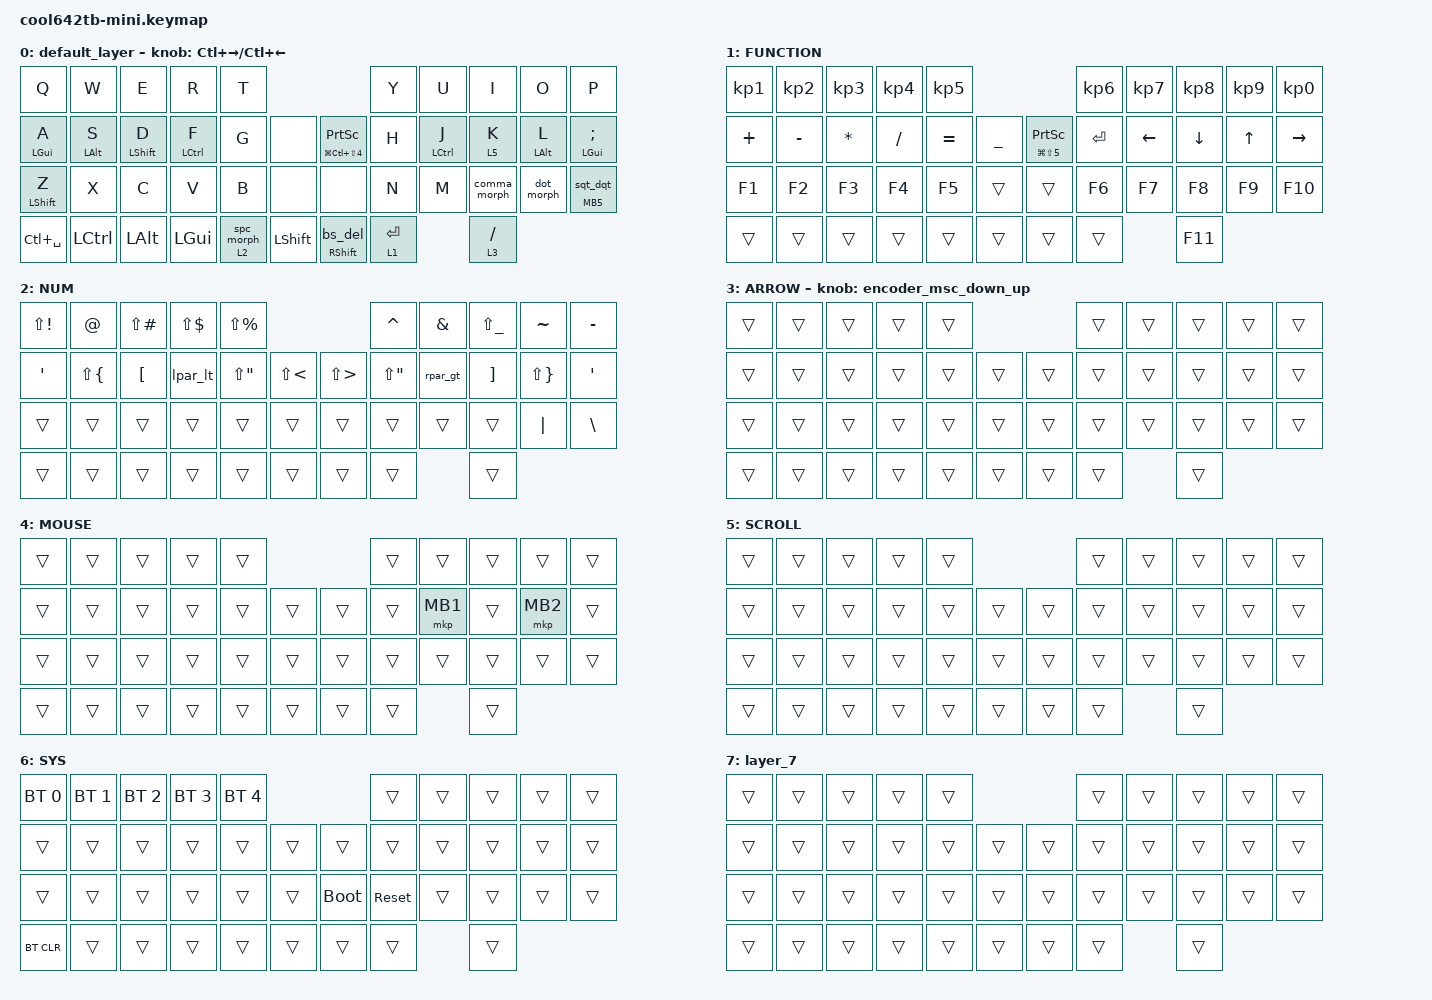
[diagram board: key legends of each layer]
#include <behaviors.dtsi>
#include <dt-bindings/zmk/bt.h>
#include <dt-bindings/zmk/keys.h>
#include <dt-bindings/zmk/pointing.h>


#define MOUSE 4
#define SCROLL 5
#define SYS 6
#define ZMK_POINTING_DEFAULT_SCRL_VAL 80

&mt {
    flavor = "balanced";
    quick-tap-ms = <0>;
};

/ {
    combos {
        compatible = "zmk,combos";

        // Vertical combos
        combo_excl {
            bindings = <&kp EXCL>;
            key-positions = <0 10>;
            timeout-ms = <30>;
            require-prior-idle-ms = <50>;
        };

        combo_at {
            bindings = <&kp AT>;
            key-positions = <1 11>;
            timeout-ms = <30>;
            require-prior-idle-ms = <50>;
        };

        // Tap: = | Shift: +
        combo_equal_plus {
            bindings = <&equal_plus>;
            key-positions = <8 20>;
            timeout-ms = <30>;
            require-prior-idle-ms = <50>;
        };

        // Tap: - | Shift: _
        combo_minus_under {
            bindings = <&minus_under>;
            key-positions = <7 19>;
            timeout-ms = <30>;
            require-prior-idle-ms = <50>;
        };

        // Horizontal combos
        combo_esc {
            bindings = <&kp ESC>;
            key-positions = <0 1>;
            timeout-ms = <25>;
            require-prior-idle-ms = <50>;
        };

        combo_tab {
            bindings = <&kp TAB>;
            key-positions = <10 11>;
            timeout-ms = <25>;
            require-prior-idle-ms = <50>;
        };

        combo_shift_tab {
            bindings = <&kp LS(TAB)>;
            key-positions = <22 23>;
            timeout-ms = <25>;
            require-prior-idle-ms = <50>;
        };

        combo_undo {
            bindings = <&kp LG(Z)>;
            key-positions = <10 22>;
            timeout-ms = <30>;
            require-prior-idle-ms = <50>;
        };

        combo_find {
            bindings = <&kp LG(F)>;
            key-positions = <13 25>;
            timeout-ms = <30>;
            require-prior-idle-ms = <50>;
        };

        combo_copy {
            bindings = <&kp LG(C)>;
            key-positions = <11 23>;
            timeout-ms = <30>;
            require-prior-idle-ms = <50>;
        };

        combo_paste {
            bindings = <&kp LG(V)>;
            key-positions = <12 24>;
            timeout-ms = <30>;
            require-prior-idle-ms = <50>;
        };

        // Tap: ( | Shift: {
        combo_lpar_lbrc {
            bindings = <&lpar_lbrc>;
            key-positions = <19 20>;
            timeout-ms = <25>;
            require-prior-idle-ms = <50>;
        };

        // Tap: ) | Shift: }
        combo_rpar_rbrc {
            bindings = <&rpar_rbrc>;
            key-positions = <20 21>;
            timeout-ms = <25>;
            require-prior-idle-ms = <50>;
        };

        combo_lbkt {
            bindings = <&lbkt_morph>;
            key-positions = <7 8>;
            timeout-ms = <25>;
            require-prior-idle-ms = <50>;
        };

        combo_rbkt {
            bindings = <&rbkt_morph>;
            key-positions = <8 9>;
            timeout-ms = <25>;
            require-prior-idle-ms = <50>;
        };

        combo_spotlight {
            bindings = <&kp LG(SPACE)>;
            key-positions = <17 29>;
            timeout-ms = <30>;
            require-prior-idle-ms = <50>;
        };

        combo_open_quickly {
            bindings = <&kp LG(LS(O))>;
            key-positions = <20 32>;
            timeout-ms = <30>;
            require-prior-idle-ms = <50>;
        };

        combo_lt {
            bindings = <&kp LT>;
            key-positions = <31 32>;
            timeout-ms = <25>;
            require-prior-idle-ms = <50>;
        };

        combo_gt {
            bindings = <&kp GT>;
            key-positions = <32 33>;
            timeout-ms = <25>;
            require-prior-idle-ms = <50>;
        };

        combo_back_forward {
            bindings = <&back_forward>;
            key-positions = <27 39>;
            timeout-ms = <25>;
            require-prior-idle-ms = <50>;
        };

        combo_win1 {
            bindings = <&kp LC(N1)>;
            key-positions = <26 27>;
            timeout-ms = <25>;
            require-prior-idle-ms = <50>;
        };
    };

    conditional_layers {
        compatible = "zmk,conditional-layers";

        sys_layer {
            if-layers = <1 2>;
            then-layer = <6>;
        };
    };

    behaviors {
        // Tap: MB4 (back) | Shift(R): MB5 (forward)
        back_forward: back_forward {
            compatible = "zmk,behavior-mod-morph";
            #binding-cells = <0>;
            bindings = <&mkp MB4>, <&mkp MB5>;
            mods = <(MOD_RSFT)>;
        };

        encoder_msc_down_up: encoder_msc_down_up {
            compatible = "zmk,behavior-sensor-rotate";
            label = "ENCODER_MSC_DOWN_UP";
            #sensor-binding-cells = <0>;
            bindings = <&msc SCRL_UP>,<&msc SCRL_DOWN>;
            tap-ms = <20>;
        };


        hml: hml {
            compatible = "zmk,behavior-hold-tap";
            #binding-cells = <2>;
            flavor = "balanced";
            tapping-term-ms = <280>;
            quick-tap-ms = <175>;
            require-prior-idle-ms = <150>;
            hold-trigger-on-release;
            bindings = <&kp>, <&kp>;
            hold-trigger-key-positions = <5 6 7 8 9 16 17 18 19 20 21 28 29 30 31 32 33 40 41 42>;
        };

        hmr: hmr {
            compatible = "zmk,behavior-hold-tap";
            #binding-cells = <2>;
            flavor = "balanced";
            tapping-term-ms = <280>;
            quick-tap-ms = <175>;
            require-prior-idle-ms = <150>;
            hold-trigger-on-release;
            bindings = <&kp>, <&kp>;
            hold-trigger-key-positions = <0 1 2 3 4 10 11 12 13 14 15 22 23 24 25 26 27 34 35 36 37 38 39>;
        };

        // Tap: comma | Shift: semicolon | Ctrl+Shift: <
        comma_inner_morph: comma_inner_morph {
            compatible = "zmk,behavior-mod-morph";
            #binding-cells = <0>;
            bindings = <&kp SEMICOLON>, <&kp LESS_THAN>;
            mods = <(MOD_LCTL|MOD_RCTL)>;
        };

        comma_morph: comma_morph {
            compatible = "zmk,behavior-mod-morph";
            #binding-cells = <0>;
            bindings = <&kp COMMA>, <&comma_inner_morph>;
            mods = <(MOD_LSFT|MOD_RSFT)>;
        };

        // Tap: dot | Shift: colon | Ctrl+Shift: >
        dot_inner_morph: dot_inner_morph {
            compatible = "zmk,behavior-mod-morph";
            #binding-cells = <0>;
            bindings = <&kp COLON>, <&kp GREATER_THAN>;
            mods = <(MOD_LCTL|MOD_RCTL)>;
        };

        dot_morph: dot_morph {
            compatible = "zmk,behavior-mod-morph";
            #binding-cells = <0>;
            bindings = <&kp DOT>, <&dot_inner_morph>;
            mods = <(MOD_LSFT|MOD_RSFT)>;
        };

        // Tap: backspace | Shift: delete
        bs_del: bs_del {
            compatible = "zmk,behavior-mod-morph";
            #binding-cells = <0>;
            bindings = <&kp BSPC>, <&kp DEL>;
            mods = <(MOD_LSFT|MOD_RSFT)>;
        };

        // Tap: ( | Shift: {
        lpar_lbrc: lpar_lbrc {
            compatible = "zmk,behavior-mod-morph";
            #binding-cells = <0>;
            bindings = <&kp LPAR>, <&kp LBRC>;
            mods = <(MOD_LSFT|MOD_RSFT)>;
        };

        // Tap: ) | Shift: }
        rpar_rbrc: rpar_rbrc {
            compatible = "zmk,behavior-mod-morph";
            #binding-cells = <0>;
            bindings = <&kp RPAR>, <&kp RBRC>;
            mods = <(MOD_LSFT|MOD_RSFT)>;
        };

        // Tap: = | Shift: +
        equal_plus: equal_plus {
            compatible = "zmk,behavior-mod-morph";
            #binding-cells = <0>;
            bindings = <&kp EQUAL>, <&kp PLUS>;
            mods = <(MOD_LSFT|MOD_RSFT)>;
        };

        // Tap: - | Shift: _
        minus_under: minus_under {
            compatible = "zmk,behavior-mod-morph";
            #binding-cells = <0>;
            bindings = <&kp MINUS>, <&kp UNDER>;
            mods = <(MOD_LSFT|MOD_RSFT)>;
        };

        // Tap: [ | Shift: Cmd+Shift+[
        lbkt_morph: lbkt_morph {
            compatible = "zmk,behavior-mod-morph";
            #binding-cells = <0>;
            bindings = <&kp LBKT>, <&kp LG(LS(LBKT))>;
            mods = <(MOD_LSFT|MOD_RSFT)>;
        };

        // Tap: ] | Shift: Cmd+Shift+]
        rbkt_morph: rbkt_morph {
            compatible = "zmk,behavior-mod-morph";
            #binding-cells = <0>;
            bindings = <&kp RBKT>, <&kp LG(LS(RBKT))>;
            mods = <(MOD_LSFT|MOD_RSFT)>;
        };

        // Tap: ' | Shift: "
        sqt_dqt: sqt_dqt {
            compatible = "zmk,behavior-mod-morph";
            #binding-cells = <0>;
            bindings = <&kp SQT>, <&kp DQT>;
            mods = <(MOD_LSFT|MOD_RSFT)>;
        };

        // Hold: MB5 (forward) | Tap: sqt_dqt (' / ")
        ht_sqt: ht_sqt {
            compatible = "zmk,behavior-hold-tap";
            #binding-cells = <2>;
            flavor = "balanced";
            tapping-term-ms = <200>;
            quick-tap-ms = <175>;
            bindings = <&mkp>, <&sqt_dqt>;
        };

        // Tap: ? | Shift: !
        qexcl: qexcl {
            compatible = "zmk,behavior-mod-morph";
            #binding-cells = <0>;
            bindings = <&kp QMARK>, <&kp EXCL>;
            mods = <(MOD_LSFT|MOD_RSFT)>;
        };

        // Tap: ( | Shift: <
        lpar_lt: lpar_lt {
            compatible = "zmk,behavior-mod-morph";
            #binding-cells = <0>;
            bindings = <&kp LPAR>, <&kp LT>;
            mods = <(MOD_LSFT|MOD_RSFT)>;
        };

        // Tap: ) | Shift: >
        rpar_gt: rpar_gt {
            compatible = "zmk,behavior-mod-morph";
            #binding-cells = <0>;
            bindings = <&kp RPAR>, <&kp GT>;
            mods = <(MOD_LSFT|MOD_RSFT)>;
        };

        // Tap: space | Shift: . + space + sticky shift
        spc_morph: spc_morph {
            compatible = "zmk,behavior-mod-morph";
            #binding-cells = <0>;
            bindings = <&kp SPACE>, <&dot_spc>;
            mods = <(MOD_LSFT|MOD_RSFT)>;
        };

        // Hold: kp | Tap: kp (tap sends harmless PSCRN, ignored by macOS)
        ht_scrn: ht_scrn {
            compatible = "zmk,behavior-hold-tap";
            #binding-cells = <2>;
            flavor = "hold-preferred";
            tapping-term-ms = <400>;
            require-prior-idle-ms = <200>;
            bindings = <&kp>, <&kp>;
        };

        // Hold: RSHIFT | Tap: bs_del
        ht_bs_del: ht_bs_del {
            compatible = "zmk,behavior-hold-tap";
            #binding-cells = <2>;
            flavor = "balanced";
            tapping-term-ms = <200>;
            quick-tap-ms = <175>;
            bindings = <&kp>, <&bs_del>;
        };

        // Hold: layer | Tap: spc_morph
        lt_spc: lt_spc {
            compatible = "zmk,behavior-hold-tap";
            #binding-cells = <2>;
            flavor = "balanced";
            tapping-term-ms = <200>;
            quick-tap-ms = <175>;
            bindings = <&mo>, <&spc_morph>;
        };
    };

    macros {
        dot_spc: dot_spc {
            compatible = "zmk,behavior-macro";
            #binding-cells = <0>;
            wait-ms = <0>;
            tap-ms = <5>;
            bindings = <&kp DOT &kp SPACE &sk LSHFT>;
        };
    };


    keymap {
        compatible = "zmk,keymap";

        default_layer {
            bindings = <
&kp Q         &kp W        &kp E          &kp R          &kp T                                                    &kp Y        &kp U         &kp I      &kp O       &kp P
&hml LGUI A   &hml LALT S  &hml LSHFT D   &hml LCTRL F   &kp G        &none                  &ht_scrn LG(LC(LS(N4))) PSCRN   &kp H        &hmr LCTRL J  &lt 5 K    &hmr LALT L &hmr LGUI SEMICOLON
&hml LSHFT Z  &kp X        &kp C          &kp V          &kp B        &none                  &none                &kp N        &kp M         &comma_morph  &dot_morph  &ht_sqt MB5 0
&kp LC(SPACE)       &kp LCTRL   &kp LEFT_ALT  &kp LEFT_GUI  &lt_spc 2 0  &kp LSHIFT             &ht_bs_del RSHIFT 0  &lt 1 ENTER                             &lt 3 SLASH
            >;

            sensor-bindings = <&inc_dec_kp LC(RIGHT) LC(LEFT)>;
        };

        FUNCTION {
            bindings = <
&kp KP_N1 &kp KP_N2  &kp KP_N3  &kp KP_N4  &kp KP_N5                           &kp KP_N6  &kp KP_N7 &kp KP_N8 &kp KP_N9     &kp KP_N0
&kp PLUS  &kp MINUS  &kp ASTRK  &kp SLASH  &kp EQUAL  &kp UNDER      &ht_scrn LG(LS(N5)) PSCRN  &kp ENTER  &kp LEFT  &kp DOWN  &kp UP_ARROW  &kp RIGHT
&kp F1    &kp F2     &kp F3     &kp F4     &kp F5     &trans         &trans    &kp F6     &kp F7    &kp F8    &kp F9        &kp F10
&trans    &trans     &trans     &trans     &trans     &trans         &trans    &trans                                       &kp F11
            >;
        };

        NUM {
            bindings = <
&kp LS(EXCL)  &kp AT        &kp LS(POUND)  &kp LS(DLLR)  &kp LS(PRCNT)                              &kp CARET    &kp AMPERSAND  &kp LS(UNDER)  &kp TILDE     &kp MINUS
&kp SQT       &kp LS(LBRC)  &kp LBKT       &lpar_lt      &kp LS(DQT)    &kp LS(LT)      &kp LS(GT)  &kp LS(DQT)  &rpar_gt       &kp RBKT       &kp LS(RBRC)  &kp SQT
&trans        &trans        &trans         &trans        &trans         &trans          &trans      &trans       &trans         &trans         &kp PIPE      &kp BACKSLASH
&trans        &trans        &trans         &trans        &trans         &trans          &trans      &trans                                                   &trans
            >;
        };

        ARROW {
            bindings = <
&trans  &trans  &trans  &trans  &trans                      &trans  &trans  &trans  &trans  &trans
&trans  &trans  &trans  &trans  &trans  &trans      &trans  &trans  &trans  &trans  &trans  &trans
&trans  &trans  &trans  &trans  &trans  &trans      &trans  &trans  &trans  &trans  &trans  &trans
&trans  &trans  &trans  &trans  &trans  &trans      &trans  &trans                          &trans
            >;

            sensor-bindings = <&encoder_msc_down_up>;
        };

        MOUSE {
            bindings = <
&trans  &trans  &trans  &trans  &trans                      &trans  &trans    &trans  &trans    &trans
&trans  &trans  &trans  &trans  &trans  &trans      &trans  &trans  &mkp MB1  &trans  &mkp MB2  &trans
&trans  &trans  &trans  &trans  &trans  &trans      &trans  &trans  &trans    &trans  &trans    &trans
&trans  &trans  &trans  &trans  &trans  &trans      &trans  &trans                              &trans
            >;
        };

        SCROLL {
            bindings = <
&trans  &trans  &trans  &trans  &trans                      &trans  &trans  &trans  &trans  &trans
&trans  &trans  &trans  &trans  &trans  &trans      &trans  &trans  &trans  &trans  &trans  &trans
&trans  &trans  &trans  &trans  &trans  &trans      &trans  &trans  &trans  &trans  &trans  &trans
&trans  &trans  &trans  &trans  &trans  &trans      &trans  &trans                          &trans
            >;
        };

        SYS {
            bindings = <
&bt BT_SEL 0  &bt BT_SEL 1  &bt BT_SEL 2  &bt BT_SEL 3  &bt BT_SEL 4                        &trans       &trans  &trans  &trans  &trans
&trans        &trans        &trans        &trans        &trans        &trans      &trans       &trans       &trans  &trans  &trans  &trans
&trans        &trans        &trans        &trans        &trans        &trans      &bootloader  &sys_reset   &trans  &trans  &trans  &trans
&bt BT_CLR    &trans        &trans        &trans        &trans        &trans      &trans       &trans                               &trans
            >;
        };

        layer_7 {
            bindings = <
&trans  &trans  &trans  &trans  &trans                      &trans  &trans  &trans  &trans  &trans
&trans  &trans  &trans  &trans  &trans  &trans      &trans  &trans  &trans  &trans  &trans  &trans
&trans  &trans  &trans  &trans  &trans  &trans      &trans  &trans  &trans  &trans  &trans  &trans
&trans  &trans  &trans  &trans  &trans  &trans      &trans  &trans                          &trans
            >;
        };
    };
};
